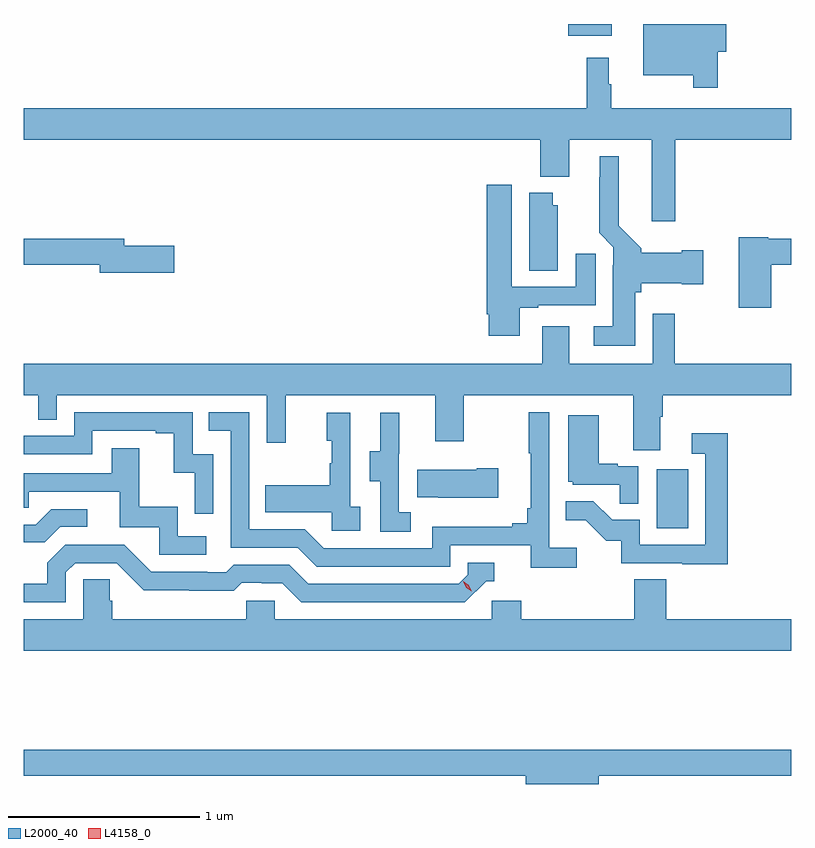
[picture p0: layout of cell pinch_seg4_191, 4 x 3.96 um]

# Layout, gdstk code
import gdstk
lib = gdstk.Library(unit=1e-6, precision=1e-09)
def R(c, l, rs):  # rectangles x0, y0, x1, y1
    for r in rs: c.add(gdstk.rectangle(r[:2], r[2:], *l))
def P(c, l, *ps):  # polygons
    for p in ps: c.add(gdstk.Polygon(p, *l))
L2000_40 = (2000, 40)
L4158_0 = (4158, 0)

pinch_seg4_191 = lib.new_cell('pinch_seg4_191')
R(pinch_seg4_191, L2000_40, [(962.564,829.428,962.728,829.735), (962.102,831.995,962.329,832.055)])
P(pinch_seg4_191, L2000_40, [(962.882,831.91),(962.926,831.91),(962.926,832.055),(962.492,832.055),(962.492,831.788),(962.754,831.788),(962.754,831.723),(962.882,831.723)],
  [(962.66,831.452),(963.264,831.452),(963.264,831.616),(962.326,831.616),(962.326,831.74),(962.314,831.74),(962.314,831.88),(962.197,831.88),(962.197,831.616),(959.264,831.616),(959.264,831.452),(961.955,831.452),(961.955,831.26),(962.107,831.26),(962.107,831.452),(962.537,831.452),(962.537,831.027),(962.66,831.027)],
  [(962.452,830.658),(962.483,830.658),(962.483,830.705),(962.693,830.705),(962.693,830.698),(962.806,830.698),(962.806,830.876),(962.693,830.876),(962.693,830.863),(962.483,830.863),(962.483,830.886),(962.365,831.004),(962.365,831.367),(962.267,831.367),(962.267,831.257),(962.263,831.257),(962.263,830.966),(962.337,830.892),(962.337,830.798),(962.333,830.798),(962.333,830.479),(962.235,830.479),(962.235,830.378),(962.452,830.378)],
  [(961.849,830.577),(961.945,830.577),(961.945,830.589),(962.245,830.589),(962.245,830.857),(962.141,830.857),(962.141,830.685),(961.807,830.685),(961.807,831.217),(961.676,831.217),(961.676,830.542),(961.688,830.542),(961.688,830.43),(961.849,830.43)],
  [(962.047,831.111),(962.02,831.111),(962.02,831.175),(961.898,831.175),(961.898,830.77),(962.047,830.77)],
  [(963.161,830.8),(963.264,830.8),(963.264,830.936),(963.144,830.936),(963.144,830.944),(962.99,830.944),(962.99,830.577),(963.161,830.577)],
  [(960.049,830.9),(959.788,830.9),(959.788,830.936),(959.264,830.936),(959.264,830.8),(959.66,830.8),(959.66,830.758),(960.049,830.758)],
  [(962.581,830.008),(962.594,830.008),(962.594,830.12),(963.264,830.12),(963.264,830.284),(962.657,830.284),(962.657,830.545),(962.541,830.545),(962.541,830.284),(962.107,830.284),(962.107,830.479),(961.967,830.479),(961.967,830.284),(959.264,830.284),(959.264,830.12),(959.34,830.12),(959.34,829.993),(959.436,829.993),(959.436,830.12),(960.531,830.12),(960.531,829.872),(960.629,829.872),(960.629,830.12),(961.409,830.12),(961.409,829.881),(961.557,829.881),(961.557,830.12),(962.441,830.12),(962.441,829.834),(962.581,829.834)],
  [(962.146,829.324),(962.004,829.324),(962.004,830.032),(961.896,830.032),(961.896,829.819),(961.907,829.819),(961.907,829.531),(961.888,829.531),(961.888,829.454),(961.811,829.454),(961.811,829.435),(961.392,829.435),(961.392,829.323),(960.828,829.323),(960.729,829.422),(960.438,829.422),(960.438,830.031),(960.229,830.031),(960.229,829.935),(960.342,829.935),(960.342,829.326),(960.692,829.326),(960.791,829.227),(961.488,829.227),(961.488,829.338),(961.907,829.338),(961.907,829.222),(962.146,829.222)],
  [(960.252,829.812),(960.144,829.812),(960.144,830.031),(959.526,830.031),(959.526,829.908),(959.264,829.908),(959.264,829.812),(959.622,829.812),(959.622,829.935),(959.951,829.935),(959.951,829.923),(960.047,829.923),(960.047,829.715),(960.156,829.715),(960.156,829.503),(960.252,829.503)],
  [(961.018,829.538),(960.966,829.538),(960.966,830.029),(960.842,830.029),(960.842,829.884),(960.868,829.884),(960.868,829.766),(960.858,829.766),(960.858,829.651),(960.523,829.651),(960.523,829.511),(960.87,829.511),(960.87,829.413),(961.018,829.413)],
  [(961.282,829.511),(961.218,829.511),(961.218,829.815),(961.22,829.815),(961.22,830.029),(961.121,830.029),(961.121,829.827),(961.067,829.827),(961.067,829.672),(961.122,829.672),(961.122,829.408),(961.282,829.408)],
  [(962.466,829.749),(962.36,829.749),(962.36,829.762),(962.26,829.762),(962.26,830.017),(962.102,830.017),(962.102,829.668),(962.124,829.668),(962.124,829.653),(962.371,829.653),(962.371,829.555),(962.466,829.555)],
  [(962.933,829.921),(962.745,829.921),(962.745,829.815),(962.817,829.815),(962.817,829.341),(962.475,829.341),(962.475,829.47),(962.331,829.47),(962.233,829.568),(962.089,829.568),(962.089,829.469),(962.193,829.469),(962.3,829.362),(962.377,829.362),(962.377,829.245),(962.695,829.245),(962.695,829.24),(962.933,829.24)],
  [(960.214,829.386),(960.066,829.386),(960.066,829.54),(959.867,829.54),(959.867,829.843),(959.723,829.843),(959.723,829.713),(959.264,829.713),(959.264,829.533),(959.291,829.533),(959.291,829.617),(959.765,829.617),(959.765,829.431),(959.97,829.431),(959.97,829.29),(960.214,829.29)],
  [(961.738,829.74),(961.625,829.74),(961.625,829.732),(961.315,829.732),(961.315,829.589),(961.423,829.589),(961.423,829.586),(961.738,829.586)],
  [(959.454,829.434),(959.596,829.434),(959.596,829.527),(959.408,829.527),(959.327,829.446),(959.264,829.446),(959.264,829.354),(959.374,829.354)],
  [(959.484,829.197),(959.532,829.245),(959.748,829.245),(959.89,829.103),(960.126,829.103),(960.126,829.101),(960.359,829.101),(960.401,829.143),(960.504,829.143),(960.504,829.14),(960.611,829.14),(960.71,829.041),(961.563,829.041),(961.674,829.152),(961.717,829.152),(961.717,829.248),(961.578,829.248),(961.578,829.185),(961.53,829.137),(960.747,829.137),(960.648,829.236),(960.359,829.236),(960.32,829.197),(960.221,829.197),(960.221,829.2),(959.928,829.2),(959.787,829.341),(959.481,829.341),(959.387,829.247),(959.387,829.137),(959.264,829.137),(959.264,829.041),(959.484,829.041)],
  [(963.264,828.952),(962.612,828.952),(962.612,829.16),(962.447,829.16),(962.447,828.952),(961.856,828.952),(961.856,829.05),(961.704,829.05),(961.704,828.952),(960.573,828.952),(960.573,829.05),(960.423,829.05),(960.423,828.952),(959.726,828.952),(959.726,829.05),(959.711,829.05),(959.711,829.16),(959.574,829.16),(959.574,828.952),(959.264,828.952),(959.264,828.788),(963.264,828.788)],
  [(962.26,828.136),(963.264,828.136),(963.264,828.272),(959.264,828.272),(959.264,828.136),(961.88,828.136),(961.88,828.094),(962.26,828.094)])
P(pinch_seg4_191, L4158_0, [(961.6,829.098),(961.569,829.118),(961.554,829.15),(961.554,829.151),(961.554,829.151),(961.584,829.131),(961.6,829.098),(961.6,829.098)])

lib.write_gds('pinch_seg4_191.gds')
